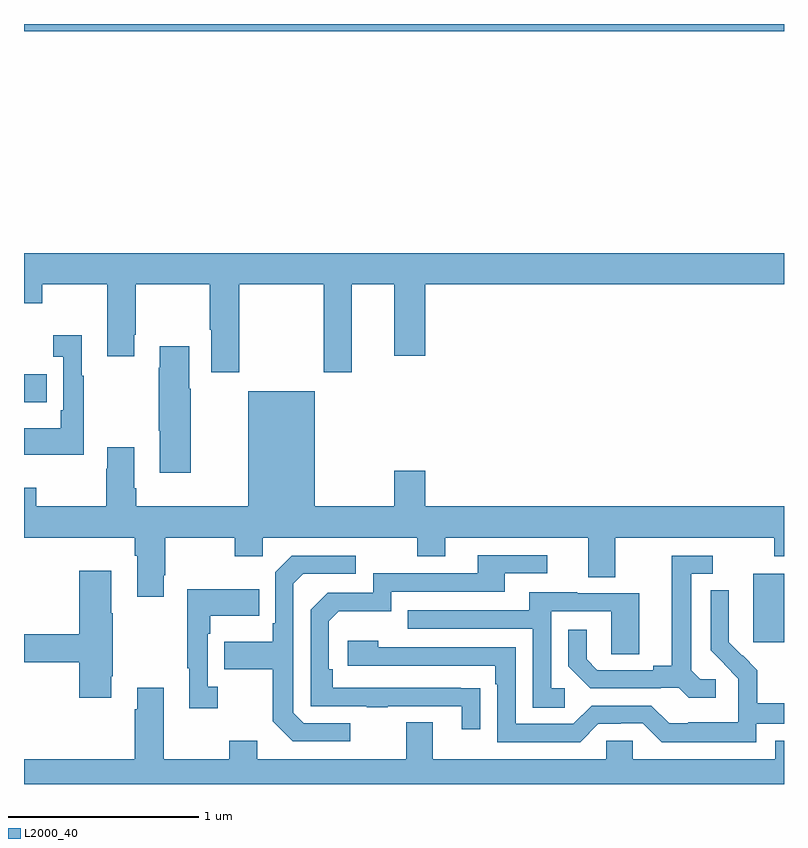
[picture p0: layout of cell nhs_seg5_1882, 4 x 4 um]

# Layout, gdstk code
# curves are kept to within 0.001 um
import gdstk
lib = gdstk.Library(unit=1e-6, precision=1e-09)
def R(c, l, rs):  # rectangles x0, y0, x1, y1
    for r in rs: c.add(gdstk.rectangle(r[:2], r[2:], *l))
def P(c, l, *ps):  # polygons
    for p in ps: c.add(gdstk.Polygon(p, *l))
L2000_40 = (2000, 40)

nhs_seg5_1882 = lib.new_cell('nhs_seg5_1882')
R(nhs_seg5_1882, L2000_40, [(226.838,853.545,227,853.906), (223,854.807,223.121,854.955), (223,856.76,227,856.799)])
P(nhs_seg5_1882, L2000_40, [(224.133,855.428),(224.578,855.428),(224.578,854.967),(224.725,854.967),(224.725,855.428),(224.948,855.428),(224.948,855.054),(225.112,855.054),(225.112,855.428),(227,855.428),(227,855.592),(223,855.592),(223,855.329),(223.095,855.329),(223.095,855.428),(223.439,855.428),(223.439,855.051),(223.579,855.051),(223.579,855.163),(223.587,855.163),(223.587,855.428),(223.978,855.428),(223.978,855.19),(223.985,855.19),(223.985,854.967),(224.133,854.967)],
  [(223.315,854.947),(223.303,854.947),(223.303,855.16),(223.155,855.16),(223.155,855.047),(223.206,855.047),(223.206,854.767),(223.194,854.767),(223.194,854.671),(223,854.671),(223,854.531),(223.315,854.531)],
  [(223.878,854.879),(223.87,854.879),(223.87,855.103),(223.715,855.103),(223.715,854.99),(223.708,854.99),(223.708,854.659),(223.715,854.659),(223.715,854.436),(223.878,854.436)],
  [(223.735,853.897),(223.743,853.897),(223.743,854.096),(224.11,854.096),(224.11,853.997),(224.256,853.997),(224.256,854.096),(225.07,854.096),(225.07,853.997),(225.217,853.997),(225.217,854.096),(225.971,854.096),(225.971,853.888),(226.111,853.888),(226.111,854.096),(226.948,854.096),(226.948,853.997),(227,853.997),(227,854.26),(225.112,854.26),(225.112,854.449),(224.948,854.449),(224.948,854.26),(224.53,854.26),(224.53,854.866),(224.18,854.866),(224.18,854.26),(223.592,854.26),(223.592,854.356),(223.579,854.356),(223.579,854.572),(223.439,854.572),(223.439,854.459),(223.432,854.459),(223.432,854.26),(223.065,854.26),(223.065,854.359),(223,854.359),(223,854.096),(223.583,854.096),(223.583,854),(223.595,854),(223.595,853.785),(223.735,853.785)],
  [(225.401,853.304),(224.624,853.305),(224.624,853.402),(224.604,853.402),(224.604,853.656),(224.657,853.709),(224.934,853.709),(224.934,853.812),(225.529,853.812),(225.529,853.908),(225.754,853.908),(225.754,854.004),(225.389,854.004),(225.389,853.908),(224.838,853.908),(224.838,853.806),(224.598,853.806),(224.508,853.716),(224.508,853.209),(224.803,853.209),(224.803,853.204),(224.915,853.204),(224.915,853.209),(225.305,853.209),(225.305,853.086),(225.401,853.086)],
  [(224.716,853.119),(224.472,853.119),(224.418,853.173),(224.418,853.854),(224.469,853.905),(224.746,853.905),(224.746,854.001),(224.409,854.001),(224.322,853.914),(224.322,853.645),(224.31,853.645),(224.31,853.549),(224.053,853.549),(224.053,853.402),(224.31,853.402),(224.31,853.129),(224.415,853.023),(224.716,853.023)],
  [(226.642,853.35),(226.56,853.35),(226.513,853.397),(226.513,853.905),(226.624,853.905),(226.624,854.001),(226.409,854.001),(226.409,853.421),(226.313,853.421),(226.313,853.398),(226.018,853.398),(225.961,853.455),(225.961,853.612),(225.864,853.612),(225.864,853.418),(225.98,853.302),(226.352,853.302),(226.352,853.305),(226.446,853.305),(226.498,853.253),(226.642,853.253)],
  [(223.459,853.366),(223.467,853.366),(223.467,853.697),(223.459,853.697),(223.459,853.921),(223.292,853.921),(223.292,853.586),(223,853.586),(223,853.439),(223.292,853.439),(223.292,853.254),(223.459,853.254)],
  [(224.02,853.31),(223.968,853.31),(223.968,853.589),(223.981,853.589),(223.981,853.685),(224.237,853.685),(224.237,853.825),(223.86,853.825),(223.86,853.409),(223.871,853.409),(223.871,853.197),(224.02,853.197)],
  [(226.854,853.116),(227,853.116),(227,853.225),(226.859,853.225),(226.859,853.399),(226.782,853.476),(226.779,853.473),(226.709,853.544),(226.71,853.82),(226.614,853.82),(226.614,853.502),(226.76,853.354),(226.76,853.257),(226.758,853.257),(226.758,853.123),(226.495,853.123),(226.495,853.119),(226.395,853.119),(226.302,853.212),(225.987,853.212),(225.891,853.116),(225.588,853.116),(225.588,853.518),(224.864,853.518),(224.864,853.552),(224.703,853.552),(224.703,853.422),(225.479,853.422),(225.479,853.325),(225.492,853.325),(225.492,853.02),(225.927,853.02),(226.023,853.116),(226.142,853.116),(226.142,853.119),(226.257,853.119),(226.357,853.019),(226.854,853.019)],
  [(225.847,853.302),(225.774,853.302),(225.774,853.707),(226.092,853.707),(226.092,853.483),(226.237,853.483),(226.237,853.803),(225.913,853.803),(225.913,853.807),(225.659,853.807),(225.659,853.713),(225.019,853.713),(225.019,853.617),(225.678,853.617),(225.678,853.201),(225.847,853.201)],
  [(227,853.027),(226.955,853.027),(226.955,852.928),(226.203,852.928),(226.203,853.026),(226.065,853.026),(226.065,852.928),(225.151,852.928),(225.151,853.123),(225.011,853.123),(225.011,852.928),(224.227,852.928),(224.227,853.027),(224.08,853.027),(224.08,852.928),(223.735,852.928),(223.735,853.306),(223.595,853.306),(223.595,853.193),(223.583,853.193),(223.583,852.928),(223,852.928),(223,852.799),(227,852.799)])

lib.write_gds('nhs_seg5_1882.gds')
